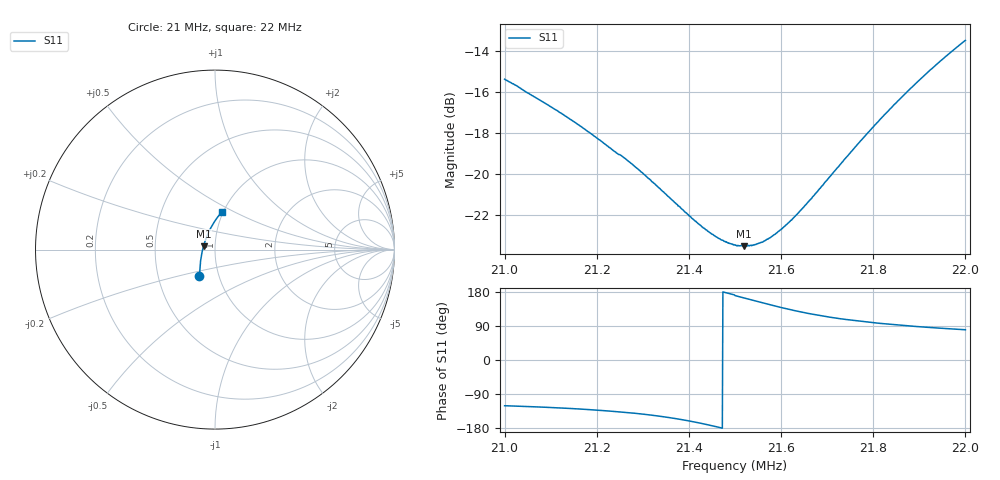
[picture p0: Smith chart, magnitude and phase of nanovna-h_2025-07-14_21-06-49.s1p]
! NanoVNA-App by OneOfEleven et al v1.1.209 (+OD18)
! Date: 2025-07-14 21:06:51
! Start: 21MHz Stop: 22MHz Points: 801
! S-Parameter data: F S11
# Hz S RI R 50
!  Frequency  S11_Real  S11_Imag
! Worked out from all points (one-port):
!   801 points, 21 MHz to 22 MHz, reference 50 ohm
!   lowest |S11| = -23.5 dB at 21.52 MHz (marker M1), VSWR 1.14, Z = 44 + j1.66 ohm
!   |S11| at or under -10 dB: start of sweep to end of sweep
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2.1e7  -0.0872 -0.1467
2.102375e7  -0.0866 -0.1404
2.1125e7  -0.0841 -0.1122
2.117e7  -0.0831 -0.0994
2.124125e7  -0.0815 -0.0783
2.125e7  -0.0813 -0.0763
2.126625e7  -0.081 -0.0713
2.129375e7  -0.0802 -0.0627
2.1375e7  -0.0764 -0.035
2.141125e7  -0.0738 -0.0221
2.1445e7  -0.0711 -0.01
2.147375e7  -0.0688 0.000389
2.15e7  -0.0659 0.0116
2.152e7  -0.0638 0.0188
2.154125e7  -0.0616 0.0264
2.156375e7  -0.0592 0.0345
2.157625e7  -0.0577 0.0391
2.159125e7  -0.0559 0.045
2.1625e7  -0.0514 0.0581
2.16675e7  -0.0451 0.0751
2.175e7  -0.03 0.1085
2.181875e7  -0.0148 0.1367
2.1875e7  -0.00051 0.1595
2.1915e7  0.0108 0.1756
2.194375e7  0.0193 0.1872
2.198125e7  0.0312 0.202
2.1995e7  0.0359 0.2072
2.2e7  0.0375 0.209
